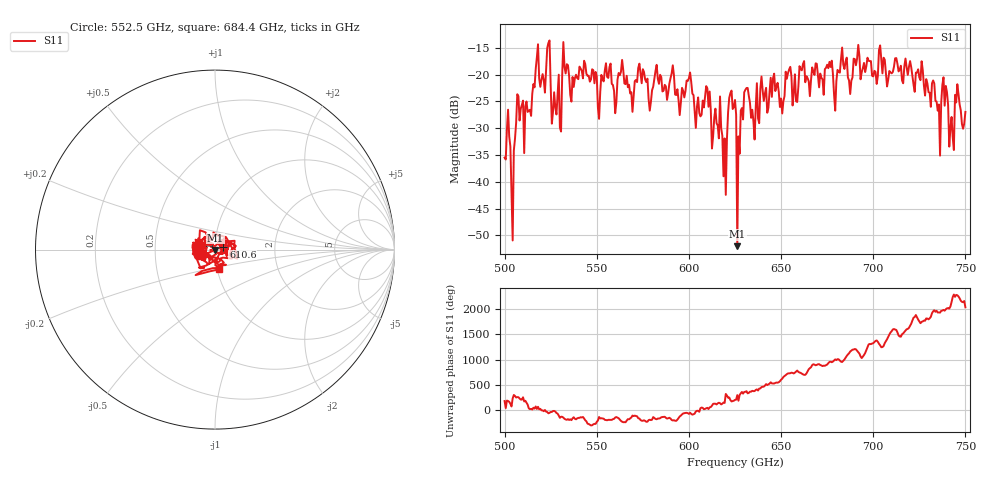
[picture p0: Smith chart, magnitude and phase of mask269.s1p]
!Created with skrf (http://scikit-rf.org).
# GHz S MA R 50.0
!freq magS11 angS11
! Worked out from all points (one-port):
!   401 points, 500 GHz to 750 GHz, reference 50 ohm
!   lowest |S11| = -52.0 dB at 626.2 GHz (marker M1), VSWR 1.01, Z = 50.1 - j0.227 ohm
!   |S11| at or under -10 dB: start of sweep to end of sweep
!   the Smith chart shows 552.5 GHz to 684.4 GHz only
!   S11 on the Smith chart (normalised r, x): 552.5 GHz: 0.83, -0.05; 610.6 GHz: 1.10, +0.04; 684.4 GHz: 1.02, -0.23
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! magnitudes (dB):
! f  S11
! 500 GHz  -35.5
! 504.4 GHz  -50.9
! 507.5 GHz  -24.0
! 511.9 GHz  -25.0
! 516.9 GHz  -19.0
! 523.8 GHz  -14.1
! 526.9 GHz  -23.3
! 531.2 GHz  -20.0
! 533.1 GHz  -19.8
! 552.5 GHz  -20.1
! 562.5 GHz  -20.1
! 593.8 GHz  -22.7
! 610.6 GHz  -26.0
! 619.4 GHz  -31.9
! 622.5 GHz  -23.4
! 625 GHz  -24.7
! 626.2 GHz  -52.0
! 631.2 GHz  -22.5
! 635 GHz  -28.7
! 656.2 GHz  -25.8
! 684.4 GHz  -19.0
! 687.5 GHz  -23.6
! 718.8 GHz  -20.1
! 735 GHz  -26.7
! 738.8 GHz  -25.8
! 742.5 GHz  -27.9
! 745.6 GHz  -21.8
! 750 GHz  -27.0
